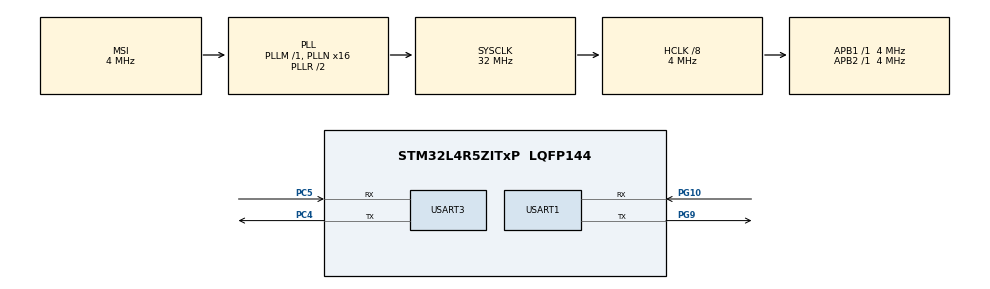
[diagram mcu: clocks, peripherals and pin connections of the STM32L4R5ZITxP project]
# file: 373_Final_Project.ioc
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Dma.Request0=USART1_RX
Dma.USART1_RX.0.Direction=DMA_PERIPH_TO_MEMORY
Dma.USART1_RX.0.EventEnable=DISABLE
Dma.USART1_RX.0.Instance=DMA1_Channel1
Dma.USART1_RX.0.MemDataAlignment=DMA_MDATAALIGN_BYTE
Dma.USART1_RX.0.MemInc=DMA_MINC_ENABLE
Dma.USART1_RX.0.Mode=DMA_NORMAL
Dma.USART1_RX.0.PeriphDataAlignment=DMA_PDATAALIGN_BYTE
Dma.USART1_RX.0.PeriphInc=DMA_PINC_DISABLE
Dma.USART1_RX.0.Polarity=HAL_DMAMUX_REQUEST_GEN_RISING
Dma.USART1_RX.0.Priority=DMA_PRIORITY_HIGH
Dma.USART1_RX.0.RequestNumber=1
Dma.USART1_RX.0.SignalID=NONE
Dma.USART1_RX.0.SyncEnable=DISABLE
Dma.USART1_RX.0.SyncPolarity=HAL_DMAMUX_SYNC_NO_EVENT
Dma.USART1_RX.0.SyncRequestNumber=1
Dma.USART1_RX.0.SyncSignalID=NONE
Mcu.Family=STM32L4
Mcu.Name=STM32L4R5ZITxP
Mcu.Package=LQFP144
NVIC.DMA1_Channel1_IRQn=true\:2\:0\:true\:false\:true\:false\:true\:true
NVIC.PriorityGroup=NVIC_PRIORITYGROUP_4
PA0.Signal=S_TIM2_CH1
PA1.Signal=ADCx_IN6
PA10.Signal=USB_OTG_FS_ID
PA13\ (JTMS/SWDIO).Signal=SYS_JTMS-SWDIO
PA14\ (JTCK/SWCLK).Signal=SYS_JTCK-SWCLK
PA3.Signal=ADCx_IN8
PA4.Signal=SPI1_NSS
PA5.Signal=SPI1_SCK
PA6.Signal=SPI1_MISO
PA7.Signal=SPI1_MOSI
PA8.Signal=USB_OTG_FS_SOF
PA9.Signal=USB_OTG_FS_VBUS
PB0.Signal=S_TIM3_CH3
PB1.Signal=ADCx_IN16
PB10.Signal=S_TIM2_CH3
PB12.Signal=SAI2_FS_A
PB13.Signal=SAI2_SCK_A
PB14.Signal=S_TIM15_CH1
PB15.Signal=SAI2_SD_A
PB2.Signal=COMP1_INP
PB3\ (JTDO/TRACESWO).Signal=SPI3_SCK
PB4\ (NJTRST).Signal=SPI3_MISO
PB5.Signal=SPI3_MOSI
PB6.Signal=COMP2_INP
PB8.Signal=I2C1_SCL
PB9.Signal=I2C1_SDA
PC0.Signal=ADCx_IN1
PC1.Signal=ADCx_IN2
PC10.Signal=SDMMC1_D2
PC11.Signal=SDMMC1_D3
PC12.Signal=SDMMC1_CK
PC13.Signal=SYS_WKUP2
PC14-OSC32_IN\ (PC14).Signal=RCC_OSC32_IN
PC15-OSC32_OUT\ (PC15).Signal=RCC_OSC32_OUT
PC2.Signal=ADCx_IN3
PC3.Signal=ADCx_IN4
PC4.Mode=Asynchronous
PC4.Signal=USART3_TX
PC5.Mode=Asynchronous
PC5.Signal=USART3_RX
PC6.Signal=SAI2_MCLK_A
PC7.Signal=S_TIM3_CH2
PC8.Signal=SDMMC1_D0
PC9.Signal=SDMMC1_D1
PD0.Signal=CAN1_RX
PD14.Signal=S_TIM4_CH3
PD15.Signal=S_TIM4_CH4
PD2.Signal=SDMMC1_CMD
PD3.Signal=USART2_CTS
PD4.Signal=USART2_RTS
PD5.Signal=USART2_TX
PD6.Signal=USART2_RX
PE0.Signal=S_TIM4_ETR
PE10.Signal=TIM1_CH2N
PE11.Signal=S_TIM1_CH2
PE12.Signal=TIM1_CH3N
PE13.Signal=S_TIM1_CH3
PE14.Signal=TIM1_BKIN2
PE15.Signal=TIM1_BKIN
PE2.Signal=SAI1_MCLK_A
PE3.Signal=SAI1_SD_B
PE7.Signal=S_TIM1_ETR
PE8.Signal=TIM1_CH1N
PE9.Signal=S_TIM1_CH1
PF0.Signal=I2C2_SDA
PF1.Signal=I2C2_SCL
PF2.Signal=I2C2_SMBA
PF7.Signal=SAI1_MCLK_B
PG10.Mode=Asynchronous
PG10.Signal=USART1_RX
PG7.Signal=LPUART1_TX
PG8.Signal=LPUART1_RX
PG9.Mode=Asynchronous
PG9.Signal=USART1_TX
PH0-OSC_IN\ (PH0).Signal=RCC_OSC_IN
PH1-OSC_OUT\ (PH1).Signal=RCC_OSC_OUT
ProjectManager.HeapSize=0x200
ProjectManager.StackSize=0x400
ProjectManager.TargetToolchain=STM32CubeIDE
RCC.AHBCLKDivider=RCC_SYSCLK_DIV8
RCC.AHBFreq_Value=4000000
RCC.APB1Freq_Value=4000000
RCC.APB1TimFreq_Value=4000000
RCC.APB2Freq_Value=4000000
RCC.APB2TimFreq_Value=4000000
RCC.CortexFreq_Value=4000000
RCC.HCLKFreq_Value=4000000
RCC.HSE_VALUE=8000000
RCC.HSI48_VALUE=48000000
RCC.HSI_VALUE=16000000
RCC.LSE_VALUE=32768
RCC.MSI_VALUE=4000000
RCC.PLLN=16
RCC.SYSCLKFreq_VALUE=32000000
RCC.SYSCLKSource=RCC_SYSCLKSOURCE_PLLCLK
RCC.VCOOutputFreq_Value=64000000
SH.ADCx_IN1.0=ADC1_IN1
SH.ADCx_IN16.0=ADC1_IN16
SH.ADCx_IN2.0=ADC1_IN2
SH.ADCx_IN3.0=ADC1_IN3
SH.ADCx_IN4.0=ADC1_IN4
SH.ADCx_IN6.0=ADC1_IN6
SH.ADCx_IN8.0=ADC1_IN8
SH.S_TIM15_CH1.0=TIM15_CH1
SH.S_TIM1_CH1.0=TIM1_CH1
SH.S_TIM1_CH2.0=TIM1_CH2
SH.S_TIM1_CH3.0=TIM1_CH3
SH.S_TIM1_ETR.0=TIM1_ETR
SH.S_TIM2_CH1.0=TIM2_CH1
SH.S_TIM2_CH3.0=TIM2_CH3
SH.S_TIM3_CH2.0=TIM3_CH2
SH.S_TIM3_CH3.0=TIM3_CH3
SH.S_TIM4_CH3.0=TIM4_CH3
SH.S_TIM4_CH4.0=TIM4_CH4
SH.S_TIM4_ETR.0=TIM4_ETR
USART1.VirtualMode-Asynchronous=VM_ASYNC
USART3.VirtualMode-Asynchronous=VM_ASYNC
USART3.WordLength=WORDLENGTH_8B
board=NUCLEO-L4R5ZI-P

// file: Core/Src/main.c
/* USER CODE BEGIN Header */
/**
  ******************************************************************************
  * @file           : main.c
  * @brief          : Main program body
  ******************************************************************************
  * @attention
  *
  * Copyright (c) 2025 STMicroelectronics.
  * All rights reserved.
  *
  * This software is licensed under terms that can be found in the LICENSE file
  * in the root directory of this software component.
  * If no LICENSE file comes with this software, it is provided AS-IS.
  *
  ******************************************************************************
  */
/* USER CODE END Header */
#include "main.h"

/* USER CODE BEGIN Includes */
#include "lidar.h"
/* USER CODE END Includes */

UART_HandleTypeDef huart1;
UART_HandleTypeDef huart3;
DMA_HandleTypeDef hdma_usart1_rx;

/* USER CODE BEGIN PV */
uint8_t capsule_data[168];
/* USER CODE END PV */

void SystemClock_Config(void);
static void MX_GPIO_Init(void);
static void MX_DMA_Init(void);
static void MX_USART1_UART_Init(void);
static void MX_USART3_UART_Init(void);

/* USER CODE BEGIN 0 */
void get_health(UART_HandleTypeDef* huart_addr){
	uint8_t cmd[] = {0xA5, 0x52};
	HAL_UART_Transmit(huart_addr, cmd, 2, HAL_MAX_DELAY);

	uint8_t response[7];
	uint8_t data[3];
	HAL_UART_Receive(huart_addr, response, 7, HAL_MAX_DELAY);
	HAL_UART_Receive(huart_addr, data, 3, HAL_MAX_DELAY);
	uint8_t status = data[0];
	if (status == 0){
		printf("LIDAR OK\n");
	}
	else if (status == 1){
		printf("LIDAR Warning\n");
	}
	else{
		printf("LIDAR Error\n");
	}
}
/* USER CODE END 0 */

int main(void)
{

  /* MCU Configuration--------------------------------------------------------*/

  /* Reset of all peripherals, Initializes the Flash interface and the Systick. */
  HAL_Init();

  /* USER CODE BEGIN Init */
  uint8_t response_descriptor[10];
  uint8_t capsule_data[84];
  /* USER CODE END Init */

  /* Configure the system clock */
  SystemClock_Config();

  /* Initialize all configured peripherals */
  MX_GPIO_Init();
  MX_DMA_Init();
  MX_USART1_UART_Init();
  MX_USART3_UART_Init();
  /* USER CODE BEGIN 2 */
//  uint8_t test_msg[] = "TEST\r\n";
//  HAL_UART_Transmit(&huart3, test_msg, sizeof(test_msg)-1, HAL_MAX_DELAY);
  uint8_t stop_cmd[] = {0xA5, 0x25};
  HAL_UART_Transmit(&huart3, stop_cmd, 2, HAL_MAX_DELAY);
  get_health(&huart3);

  send_express_scan_command(&huart3);
  HAL_UART_Receive(&huart3, response_descriptor, 7, HAL_MAX_DELAY);

  /* USER CODE END 2 */

  /* Infinite loop */
  /* USER CODE BEGIN WHILE */
  while (1)
  {
	 HAL_UART_Receive(&huart3, capsule_data, 1, HAL_MAX_DELAY);
	 decode_express_capsule(capsule_data);
    /* USER CODE END WHILE */

  }
}

void SystemClock_Config(void)
{
  RCC_OscInitTypeDef RCC_OscInitStruct = {0};
  RCC_ClkInitTypeDef RCC_ClkInitStruct = {0};

  /** Configure the main internal regulator output voltage
  */
  if (HAL_PWREx_ControlVoltageScaling(PWR_REGULATOR_VOLTAGE_SCALE1) != HAL_OK)
  {
    Error_Handler();
  }

  /** Initializes the RCC Oscillators according to the specified parameters
  * in the RCC_OscInitTypeDef structure.
  */
  RCC_OscInitStruct.OscillatorType = RCC_OSCILLATORTYPE_MSI;
  RCC_OscInitStruct.MSIState = RCC_MSI_ON;
  RCC_OscInitStruct.MSICalibrationValue = 0;
  RCC_OscInitStruct.MSIClockRange = RCC_MSIRANGE_6;
  RCC_OscInitStruct.PLL.PLLState = RCC_PLL_ON;
  RCC_OscInitStruct.PLL.PLLSource = RCC_PLLSOURCE_MSI;
  RCC_OscInitStruct.PLL.PLLM = 1;
  RCC_OscInitStruct.PLL.PLLN = 16;
  RCC_OscInitStruct.PLL.PLLP = RCC_PLLP_DIV2;
  RCC_OscInitStruct.PLL.PLLQ = RCC_PLLQ_DIV2;
  RCC_OscInitStruct.PLL.PLLR = RCC_PLLR_DIV2;
  if (HAL_RCC_OscConfig(&RCC_OscInitStruct) != HAL_OK)
  {
    Error_Handler();
  }

  /** Initializes the CPU, AHB and APB buses clocks
  */
  RCC_ClkInitStruct.ClockType = RCC_CLOCKTYPE_HCLK|RCC_CLOCKTYPE_SYSCLK
                              |RCC_CLOCKTYPE_PCLK1|RCC_CLOCKTYPE_PCLK2;
  RCC_ClkInitStruct.SYSCLKSource = RCC_SYSCLKSOURCE_PLLCLK;
  RCC_ClkInitStruct.AHBCLKDivider = RCC_SYSCLK_DIV8;
  RCC_ClkInitStruct.APB1CLKDivider = RCC_HCLK_DIV1;
  RCC_ClkInitStruct.APB2CLKDivider = RCC_HCLK_DIV1;

  if (HAL_RCC_ClockConfig(&RCC_ClkInitStruct, FLASH_LATENCY_0) != HAL_OK)
  {
    Error_Handler();
  }
}

static void MX_USART1_UART_Init(void)
{

  huart1.Instance = USART1;
  huart1.Init.BaudRate = 115200;
  huart1.Init.WordLength = UART_WORDLENGTH_8B;
  huart1.Init.StopBits = UART_STOPBITS_1;
  huart1.Init.Parity = UART_PARITY_NONE;
  huart1.Init.Mode = UART_MODE_TX_RX;
  huart1.Init.HwFlowCtl = UART_HWCONTROL_NONE;
  huart1.Init.OverSampling = UART_OVERSAMPLING_16;
  huart1.Init.OneBitSampling = UART_ONE_BIT_SAMPLE_DISABLE;
  huart1.Init.ClockPrescaler = UART_PRESCALER_DIV1;
  huart1.AdvancedInit.AdvFeatureInit = UART_ADVFEATURE_NO_INIT;
  if (HAL_UART_Init(&huart1) != HAL_OK)
  {
    Error_Handler();
  }
  if (HAL_UARTEx_SetTxFifoThreshold(&huart1, UART_TXFIFO_THRESHOLD_1_8) != HAL_OK)
  {
    Error_Handler();
  }
  if (HAL_UARTEx_SetRxFifoThreshold(&huart1, UART_RXFIFO_THRESHOLD_1_8) != HAL_OK)
  {
    Error_Handler();
  }
  if (HAL_UARTEx_DisableFifoMode(&huart1) != HAL_OK)
  {
    Error_Handler();
  }

}

static void MX_USART3_UART_Init(void)
{

  huart3.Instance = USART3;
  huart3.Init.BaudRate = 115200;
  huart3.Init.WordLength = UART_WORDLENGTH_8B;
  huart3.Init.StopBits = UART_STOPBITS_1;
  huart3.Init.Parity = UART_PARITY_NONE;
  huart3.Init.Mode = UART_MODE_TX_RX;
  huart3.Init.HwFlowCtl = UART_HWCONTROL_NONE;
  huart3.Init.OverSampling = UART_OVERSAMPLING_16;
  huart3.Init.OneBitSampling = UART_ONE_BIT_SAMPLE_DISABLE;
  huart3.Init.ClockPrescaler = UART_PRESCALER_DIV1;
  huart3.AdvancedInit.AdvFeatureInit = UART_ADVFEATURE_NO_INIT;
  if (HAL_UART_Init(&huart3) != HAL_OK)
  {
    Error_Handler();
  }
  if (HAL_UARTEx_SetTxFifoThreshold(&huart3, UART_TXFIFO_THRESHOLD_1_8) != HAL_OK)
  {
    Error_Handler();
  }
  if (HAL_UARTEx_SetRxFifoThreshold(&huart3, UART_RXFIFO_THRESHOLD_1_8) != HAL_OK)
  {
    Error_Handler();
  }
  if (HAL_UARTEx_DisableFifoMode(&huart3) != HAL_OK)
  {
    Error_Handler();
  }

}

static void MX_DMA_Init(void)
{

  /* DMA controller clock enable */
  __HAL_RCC_DMAMUX1_CLK_ENABLE();
  __HAL_RCC_DMA1_CLK_ENABLE();

  /* DMA interrupt init */
  /* DMA1_Channel1_IRQn interrupt configuration */
  HAL_NVIC_SetPriority(DMA1_Channel1_IRQn, 2, 0);
  HAL_NVIC_EnableIRQ(DMA1_Channel1_IRQn);

}

static void MX_GPIO_Init(void)
{
  GPIO_InitTypeDef GPIO_InitStruct = {0};

  /* GPIO Ports Clock Enable */
  __HAL_RCC_GPIOE_CLK_ENABLE();
  __HAL_RCC_GPIOC_CLK_ENABLE();
  __HAL_RCC_GPIOF_CLK_ENABLE();
  __HAL_RCC_GPIOH_CLK_ENABLE();
  __HAL_RCC_GPIOA_CLK_ENABLE();
  __HAL_RCC_GPIOB_CLK_ENABLE();
  __HAL_RCC_GPIOD_CLK_ENABLE();
  __HAL_RCC_GPIOG_CLK_ENABLE();
  HAL_PWREx_EnableVddIO2();

  /*Configure GPIO pins : PE2 PE3 */
  GPIO_InitStruct.Pin = GPIO_PIN_2|GPIO_PIN_3;
  GPIO_InitStruct.Mode = GPIO_MODE_AF_PP;
  GPIO_InitStruct.Pull = GPIO_NOPULL;
  GPIO_InitStruct.Speed = GPIO_SPEED_FREQ_LOW;
  GPIO_InitStruct.Alternate = GPIO_AF13_SAI1;
  HAL_GPIO_Init(GPIOE, &GPIO_InitStruct);

  /*Configure GPIO pins : PF0 PF1 PF2 */
  GPIO_InitStruct.Pin = GPIO_PIN_0|GPIO_PIN_1|GPIO_PIN_2;
  GPIO_InitStruct.Mode = GPIO_MODE_AF_OD;
  GPIO_InitStruct.Pull = GPIO_NOPULL;
  GPIO_InitStruct.Speed = GPIO_SPEED_FREQ_VERY_HIGH;
  GPIO_InitStruct.Alternate = GPIO_AF4_I2C2;
  HAL_GPIO_Init(GPIOF, &GPIO_InitStruct);

  /*Configure GPIO pin : PF7 */
  GPIO_InitStruct.Pin = GPIO_PIN_7;
  GPIO_InitStruct.Mode = GPIO_MODE_AF_PP;
  GPIO_InitStruct.Pull = GPIO_NOPULL;
  GPIO_InitStruct.Speed = GPIO_SPEED_FREQ_LOW;
  GPIO_InitStruct.Alternate = GPIO_AF13_SAI1;
  HAL_GPIO_Init(GPIOF, &GPIO_InitStruct);

  /*Configure GPIO pins : PC0 PC1 PC2 PC3 */
  GPIO_InitStruct.Pin = GPIO_PIN_0|GPIO_PIN_1|GPIO_PIN_2|GPIO_PIN_3;
  GPIO_InitStruct.Mode = GPIO_MODE_ANALOG_ADC_CONTROL;
  GPIO_InitStruct.Pull = GPIO_NOPULL;
  HAL_GPIO_Init(GPIOC, &GPIO_InitStruct);

  /*Configure GPIO pin : PA0 */
  GPIO_InitStruct.Pin = GPIO_PIN_0;
  GPIO_InitStruct.Mode = GPIO_MODE_AF_PP;
  GPIO_InitStruct.Pull = GPIO_NOPULL;
  GPIO_InitStruct.Speed = GPIO_SPEED_FREQ_LOW;
  GPIO_InitStruct.Alternate = GPIO_AF1_TIM2;
  HAL_GPIO_Init(GPIOA, &GPIO_InitStruct);

  /*Configure GPIO pins : PA1 PA3 */
  GPIO_InitStruct.Pin = GPIO_PIN_1|GPIO_PIN_3;
  GPIO_InitStruct.Mode = GPIO_MODE_ANALOG_ADC_CONTROL;
  GPIO_InitStruct.Pull = GPIO_NOPULL;
  HAL_GPIO_Init(GPIOA, &GPIO_InitStruct);

  /*Configure GPIO pins : PA4 PA5 PA6 PA7 */
  GPIO_InitStruct.Pin = GPIO_PIN_4|GPIO_PIN_5|GPIO_PIN_6|GPIO_PIN_7;
  GPIO_InitStruct.Mode = GPIO_MODE_AF_PP;
  GPIO_InitStruct.Pull = GPIO_NOPULL;
  GPIO_InitStruct.Speed = GPIO_SPEED_FREQ_VERY_HIGH;
  GPIO_InitStruct.Alternate = GPIO_AF5_SPI1;
  HAL_GPIO_Init(GPIOA, &GPIO_InitStruct);

  /*Configure GPIO pin : PB0 */
  GPIO_InitStruct.Pin = GPIO_PIN_0;
  GPIO_InitStruct.Mode = GPIO_MODE_AF_PP;
  GPIO_InitStruct.Pull = GPIO_NOPULL;
  GPIO_InitStruct.Speed = GPIO_SPEED_FREQ_LOW;
  GPIO_InitStruct.Alternate = GPIO_AF2_TIM3;
  HAL_GPIO_Init(GPIOB, &GPIO_InitStruct);

  /*Configure GPIO pin : PB1 */
  GPIO_InitStruct.Pin = GPIO_PIN_1;
  GPIO_InitStruct.Mode = GPIO_MODE_ANALOG_ADC_CONTROL;
  GPIO_InitStruct.Pull = GPIO_NOPULL;
  HAL_GPIO_Init(GPIOB, &GPIO_InitStruct);

  /*Configure GPIO pins : PB2 PB6 */
  GPIO_InitStruct.Pin = GPIO_PIN_2|GPIO_PIN_6;
  GPIO_InitStruct.Mode = GPIO_MODE_ANALOG;
  GPIO_InitStruct.Pull = GPIO_NOPULL;
  HAL_GPIO_Init(GPIOB, &GPIO_InitStruct);

  /*Configure GPIO pins : PE7 PE8 PE9 PE10
                           PE11 PE12 PE13 */
  GPIO_InitStruct.Pin = GPIO_PIN_7|GPIO_PIN_8|GPIO_PIN_9|GPIO_PIN_10
                          |GPIO_PIN_11|GPIO_PIN_12|GPIO_PIN_13;
  GPIO_InitStruct.Mode = GPIO_MODE_AF_PP;
  GPIO_InitStruct.Pull = GPIO_NOPULL;
  GPIO_InitStruct.Speed = GPIO_SPEED_FREQ_LOW;
  GPIO_InitStruct.Alternate = GPIO_AF1_TIM1;
  HAL_GPIO_Init(GPIOE, &GPIO_InitStruct);

  /*Configure GPIO pins : PE14 PE15 */
  GPIO_InitStruct.Pin = GPIO_PIN_14|GPIO_PIN_15;
  GPIO_InitStruct.Mode = GPIO_MODE_AF_PP;
  GPIO_InitStruct.Pull = GPIO_NOPULL;
  GPIO_InitStruct.Speed = GPIO_SPEED_FREQ_LOW;
  GPIO_InitStruct.Alternate = GPIO_AF3_TIM1_COMP1;
  HAL_GPIO_Init(GPIOE, &GPIO_InitStruct);

  /*Configure GPIO pin : PB10 */
  GPIO_InitStruct.Pin = GPIO_PIN_10;
  GPIO_InitStruct.Mode = GPIO_MODE_AF_PP;
  GPIO_InitStruct.Pull = GPIO_NOPULL;
  GPIO_InitStruct.Speed = GPIO_SPEED_FREQ_LOW;
  GPIO_InitStruct.Alternate = GPIO_AF1_TIM2;
  HAL_GPIO_Init(GPIOB, &GPIO_InitStruct);

  /*Configure GPIO pins : PB12 PB13 PB15 */
  GPIO_InitStruct.Pin = GPIO_PIN_12|GPIO_PIN_13|GPIO_PIN_15;
  GPIO_InitStruct.Mode = GPIO_MODE_AF_PP;
  GPIO_InitStruct.Pull = GPIO_NOPULL;
  GPIO_InitStruct.Speed = GPIO_SPEED_FREQ_LOW;
  GPIO_InitStruct.Alternate = GPIO_AF13_SAI2;
  HAL_GPIO_Init(GPIOB, &GPIO_InitStruct);

  /*Configure GPIO pin : PB14 */
  GPIO_InitStruct.Pin = GPIO_PIN_14;
  GPIO_InitStruct.Mode = GPIO_MODE_AF_PP;
  GPIO_InitStruct.Pull = GPIO_NOPULL;
  GPIO_InitStruct.Speed = GPIO_SPEED_FREQ_LOW;
  GPIO_InitStruct.Alternate = GPIO_AF14_TIM15;
  HAL_GPIO_Init(GPIOB, &GPIO_InitStruct);

  /*Configure GPIO pins : PD14 PD15 */
  GPIO_InitStruct.Pin = GPIO_PIN_14|GPIO_PIN_15;
  GPIO_InitStruct.Mode = GPIO_MODE_AF_PP;
  GPIO_InitStruct.Pull = GPIO_NOPULL;
  GPIO_InitStruct.Speed = GPIO_SPEED_FREQ_LOW;
  GPIO_InitStruct.Alternate = GPIO_AF2_TIM4;
  HAL_GPIO_Init(GPIOD, &GPIO_InitStruct);

  /*Configure GPIO pins : PG7 PG8 */
  GPIO_InitStruct.Pin = GPIO_PIN_7|GPIO_PIN_8;
  GPIO_InitStruct.Mode = GPIO_MODE_AF_PP;
  GPIO_InitStruct.Pull = GPIO_NOPULL;
  GPIO_InitStruct.Speed = GPIO_SPEED_FREQ_VERY_HIGH;
  GPIO_InitStruct.Alternate = GPIO_AF8_LPUART1;
  HAL_GPIO_Init(GPIOG, &GPIO_InitStruct);

  /*Configure GPIO pin : PC6 */
  GPIO_InitStruct.Pin = GPIO_PIN_6;
  GPIO_InitStruct.Mode = GPIO_MODE_AF_PP;
  GPIO_InitStruct.Pull = GPIO_NOPULL;
  GPIO_InitStruct.Speed = GPIO_SPEED_FREQ_LOW;
  GPIO_InitStruct.Alternate = GPIO_AF13_SAI2;
  HAL_GPIO_Init(GPIOC, &GPIO_InitStruct);

  /*Configure GPIO pin : PC7 */
  GPIO_InitStruct.Pin = GPIO_PIN_7;
  GPIO_InitStruct.Mode = GPIO_MODE_AF_PP;
  GPIO_InitStruct.Pull = GPIO_NOPULL;
  GPIO_InitStruct.Speed = GPIO_SPEED_FREQ_LOW;
  GPIO_InitStruct.Alternate = GPIO_AF2_TIM3;
  HAL_GPIO_Init(GPIOC, &GPIO_InitStruct);

  /*Configure GPIO pins : PC8 PC9 PC10 PC11
                           PC12 */
  GPIO_InitStruct.Pin = GPIO_PIN_8|GPIO_PIN_9|GPIO_PIN_10|GPIO_PIN_11
                          |GPIO_PIN_12;
  GPIO_InitStruct.Mode = GPIO_MODE_AF_PP;
  GPIO_InitStruct.Pull = GPIO_NOPULL;
  GPIO_InitStruct.Speed = GPIO_SPEED_FREQ_VERY_HIGH;
  GPIO_InitStruct.Alternate = GPIO_AF12_SDMMC1;
  HAL_GPIO_Init(GPIOC, &GPIO_InitStruct);

  /*Configure GPIO pins : PA8 PA10 */
  GPIO_InitStruct.Pin = GPIO_PIN_8|GPIO_PIN_10;
  GPIO_InitStruct.Mode = GPIO_MODE_AF_PP;
  GPIO_InitStruct.Pull = GPIO_NOPULL;
  GPIO_InitStruct.Speed = GPIO_SPEED_FREQ_VERY_HIGH;
  GPIO_InitStruct.Alternate = GPIO_AF10_OTG_FS;
  HAL_GPIO_Init(GPIOA, &GPIO_InitStruct);

  /*Configure GPIO pin : PA9 */
  GPIO_InitStruct.Pin = GPIO_PIN_9;
  GPIO_InitStruct.Mode = GPIO_MODE_INPUT;
  GPIO_InitStruct.Pull = GPIO_NOPULL;
  HAL_GPIO_Init(GPIOA, &GPIO_InitStruct);

  /*Configure GPIO pin : PD0 */
  GPIO_InitStruct.Pin = GPIO_PIN_0;
  GPIO_InitStruct.Mode = GPIO_MODE_AF_PP;
  GPIO_InitStruct.Pull = GPIO_NOPULL;
  GPIO_InitStruct.Speed = GPIO_SPEED_FREQ_VERY_HIGH;
  GPIO_InitStruct.Alternate = GPIO_AF9_CAN1;
  HAL_GPIO_Init(GPIOD, &GPIO_InitStruct);

  /*Configure GPIO pin : PD2 */
  GPIO_InitStruct.Pin = GPIO_PIN_2;
  GPIO_InitStruct.Mode = GPIO_MODE_AF_PP;
  GPIO_InitStruct.Pull = GPIO_NOPULL;
  GPIO_InitStruct.Speed = GPIO_SPEED_FREQ_VERY_HIGH;
  GPIO_InitStruct.Alternate = GPIO_AF12_SDMMC1;
  HAL_GPIO_Init(GPIOD, &GPIO_InitStruct);

  /*Configure GPIO pins : PD3 PD4 PD5 PD6 */
  GPIO_InitStruct.Pin = GPIO_PIN_3|GPIO_PIN_4|GPIO_PIN_5|GPIO_PIN_6;
  GPIO_InitStruct.Mode = GPIO_MODE_AF_PP;
  GPIO_InitStruct.Pull = GPIO_NOPULL;
  GPIO_InitStruct.Speed = GPIO_SPEED_FREQ_VERY_HIGH;
  GPIO_InitStruct.Alternate = GPIO_AF7_USART2;
  HAL_GPIO_Init(GPIOD, &GPIO_InitStruct);

  /*Configure GPIO pins : PB3 PB4 PB5 */
  GPIO_InitStruct.Pin = GPIO_PIN_3|GPIO_PIN_4|GPIO_PIN_5;
  GPIO_InitStruct.Mode = GPIO_MODE_AF_PP;
  GPIO_InitStruct.Pull = GPIO_NOPULL;
  GPIO_InitStruct.Speed = GPIO_SPEED_FREQ_VERY_HIGH;
  GPIO_InitStruct.Alternate = GPIO_AF6_SPI3;
  HAL_GPIO_Init(GPIOB, &GPIO_InitStruct);

  /*Configure GPIO pins : PB8 PB9 */
  GPIO_InitStruct.Pin = GPIO_PIN_8|GPIO_PIN_9;
  GPIO_InitStruct.Mode = GPIO_MODE_AF_OD;
  GPIO_InitStruct.Pull = GPIO_NOPULL;
  GPIO_InitStruct.Speed = GPIO_SPEED_FREQ_VERY_HIGH;
  GPIO_InitStruct.Alternate = GPIO_AF4_I2C1;
  HAL_GPIO_Init(GPIOB, &GPIO_InitStruct);

  /*Configure GPIO pin : PE0 */
  GPIO_InitStruct.Pin = GPIO_PIN_0;
  GPIO_InitStruct.Mode = GPIO_MODE_AF_PP;
  GPIO_InitStruct.Pull = GPIO_NOPULL;
  GPIO_InitStruct.Speed = GPIO_SPEED_FREQ_LOW;
  GPIO_InitStruct.Alternate = GPIO_AF2_TIM4;
  HAL_GPIO_Init(GPIOE, &GPIO_InitStruct);

}

void Error_Handler(void)
{
  __disable_irq();
  while (1)
  {
  }
}
